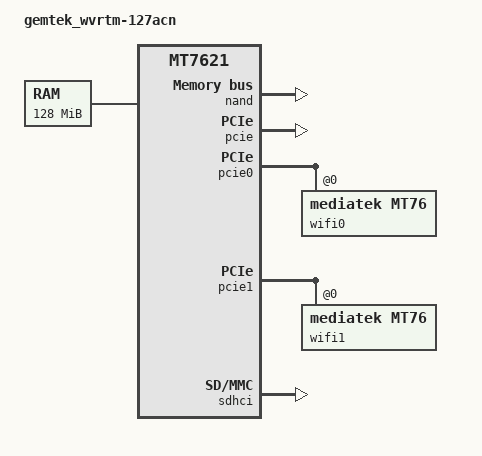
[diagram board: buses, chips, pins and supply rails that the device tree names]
// SPDX-License-Identifier: GPL-2.0-or-later OR MIT

#include "mt7621.dtsi"

#include <dt-bindings/input/input.h>
#include <dt-bindings/interrupt-controller/irq.h>

/ {
    compatible = "gemtek,wvrtm-127acn", "mediatek,mt7621-soc";
    model = "gemtek_wvrtm-127acn";

    chosen {
        bootargs = "console=ttyS0,115200n8";
    };

    memory@0 {
        device_type = "memory";
        reg = <0x0 0x8000000>;
    };
};

&nand {
    status = "okay";

   partitions {
        compatible = "fixed-partitions";
        #address-cells = <1>;
        #size-cells = <1>;

        partition@0 {
            label = "Bootloader";
            reg = <0x0 0x100000>;
            read-only;
        };

        partition@100000 {
            label = "Bootloader2";
            reg = <0x100000 0x100000>;
            read-only;
        };

Config: partition@200000 {
            label = "Config";
            reg = <0x200000 0x100000>;
            read-only;
        };

        partition@300000 {
            label = "Env1";
            reg = <0x300000 0x280000>;
        };

        partition@580000 {
            label = "Env2";
            reg = <0x580000 0x280000>;
        };

        partition@800000 {
            label = "Kernel";
            reg = <0x800000 0x2000000>;
        };

        partition@2800000 {
            label = "Kernel2";
            reg = <0x2800000 0x2000000>;
        };

        partition@4800000 {
            label = "Storage1";
            reg = <0x4800000 0x1c00000>;
        };

        partition@6400000 {
            label = "Storage2";
            reg = <0x6400000 0x1b80000>;
        };
    };
};


&switch0 {
    ports {
	port@1 {
	    status = "okay";
	    label = "lan2";
	};

	port@2 {
	    status = "okay";
	    label = "lan1";
	};

	port@4 {
	    status = "okay";
	    label = "wan";
        mtd-mac-address = <&Config 0xe006>;
	   };

    };
};

&state_default {
    gpio {
	groups = "i2c", "jtag";
	function = "gpio";
    };
};

&gmac0 {
	mtd-mac-address = <&Config 0x1e000>;
};

&pcie {
    status = "okay";
};

&pcie0 {
	wifi0: mt76@0,0 {
        compatible = "mediatek,mt76";
		reg = <0x0000 0 0 0 0>;
		mediatek,mtd-eeprom = <&Config 0x18004>;
		ieee80211-freq-limit = <5000000 6000000>;
	};
};

&pcie1 {
	wifi1: mt76@0,0 {
        compatible = "mediatek,mt76";
		reg = <0x0000 0 0 0 0>;
		mediatek,mtd-eeprom = <&Config 0x10004>;
		ieee80211-freq-limit = <2400000 2500000>;
	};
};

&sdhci {
	status = "okay";
};
